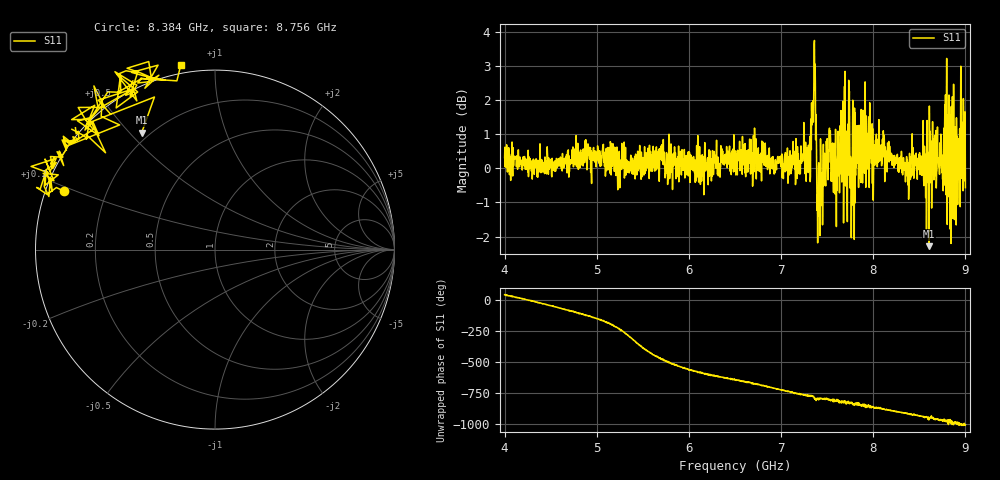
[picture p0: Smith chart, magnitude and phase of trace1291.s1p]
! Created with skrf 1.8.0 (http://scikit-rf.org).
# Hz S RI R 50.0
!freq ReS11 ImS11
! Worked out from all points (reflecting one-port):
!   1601 points, 4 GHz to 9 GHz, reference 50 ohm
!   lowest |S11| = -2.3 dB at 8.606 GHz (marker M1), VSWR 7.65, Z = 8.49 + j27.1 ohm
!   phase of S11 starts at 42 deg and turns -1050 deg over the sweep
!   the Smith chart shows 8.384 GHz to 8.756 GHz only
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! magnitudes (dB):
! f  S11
! 4 GHz  0.3
! 4.625 GHz  -0.1
! 4.897 GHz  0.0
! 5.25 GHz  -0.6
! 5.709 GHz  0.2
! 5.875 GHz  -0.2
! 6.5 GHz  0.1
! 7.125 GHz  0.2
! 7.294 GHz  -0.1
! 7.356 GHz  2.6
! 7.384 GHz  0.7
! 7.4 GHz  -0.7
! 7.412 GHz  -1.4
! 7.512 GHz  0.5
! 7.588 GHz  0.6
! 7.669 GHz  -0.2
! 7.75 GHz  -0.6
! 7.775 GHz  1.0
! 7.822 GHz  0.6
! 7.891 GHz  1.1
! 8.375 GHz  -0.2
! 8.606 GHz  -2.3
! 8.766 GHz  1.2
! 8.788 GHz  -0.2
! 8.841 GHz  1.0
! 8.906 GHz  0.7
! 8.972 GHz  0.8
! 9 GHz  -0.6
